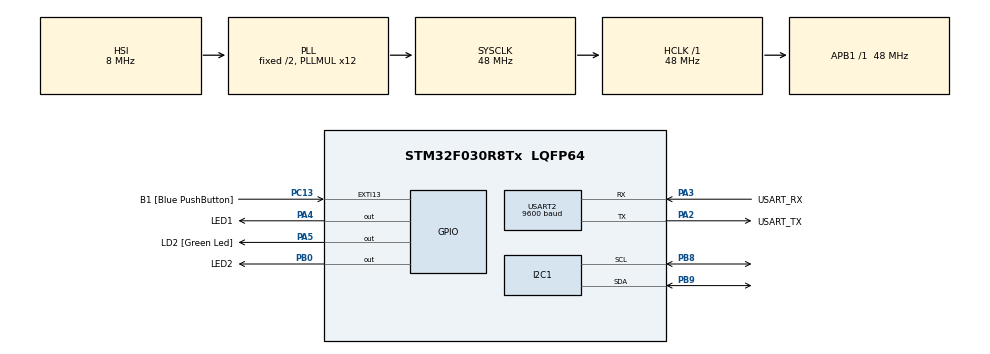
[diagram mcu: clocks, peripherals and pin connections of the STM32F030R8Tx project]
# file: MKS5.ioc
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Dma.Request0=USART2_RX
Dma.USART2_RX.0.Direction=DMA_PERIPH_TO_MEMORY
Dma.USART2_RX.0.Instance=DMA1_Channel5
Dma.USART2_RX.0.MemDataAlignment=DMA_MDATAALIGN_BYTE
Dma.USART2_RX.0.MemInc=DMA_MINC_ENABLE
Dma.USART2_RX.0.Mode=DMA_CIRCULAR
Dma.USART2_RX.0.PeriphDataAlignment=DMA_PDATAALIGN_BYTE
Dma.USART2_RX.0.PeriphInc=DMA_PINC_DISABLE
Dma.USART2_RX.0.Priority=DMA_PRIORITY_LOW
I2C1.Timing=0x00201D2B
Mcu.Family=STM32F0
Mcu.Name=STM32F030R8Tx
Mcu.Package=LQFP64
NVIC.DMA1_Channel4_5_IRQn=true\:0\:0\:false\:false\:true\:false\:true\:true
PA13.GPIO_Label=TMS
PA13.Mode=Serial_Wire
PA13.Signal=SYS_SWDIO
PA14.GPIO_Label=TCK
PA14.Mode=Serial_Wire
PA14.Signal=SYS_SWCLK
PA2.GPIO_Label=USART_TX
PA2.GPIO_Mode=GPIO_MODE_AF_PP
PA2.GPIO_PuPd=GPIO_NOPULL
PA2.GPIO_Speed=GPIO_SPEED_FREQ_LOW
PA2.Mode=Asynchronous
PA2.Signal=USART2_TX
PA3.GPIO_Label=USART_RX
PA3.GPIO_Mode=GPIO_MODE_AF_PP
PA3.GPIO_PuPd=GPIO_NOPULL
PA3.GPIO_Speed=GPIO_SPEED_FREQ_LOW
PA3.Mode=Asynchronous
PA3.Signal=USART2_RX
PA4.GPIO_Label=LED1
PA4.Signal=GPIO_Output
PA5.GPIO_Label=LD2 [Green Led]
PA5.GPIO_Mode=GPIO_MODE_OUTPUT_PP
PA5.GPIO_PuPd=GPIO_NOPULL
PA5.GPIO_Speed=GPIO_SPEED_FREQ_LOW
PA5.Signal=GPIO_Output
PB0.GPIO_Label=LED2
PB0.Signal=GPIO_Output
PB8.Mode=I2C
PB8.Signal=I2C1_SCL
PB9.Mode=I2C
PB9.Signal=I2C1_SDA
PC13.GPIO_Label=B1 [Blue PushButton]
PC13.GPIO_ModeDefaultEXTI=GPIO_MODE_IT_FALLING
PC13.Signal=GPXTI13
PC14-OSC32_IN.Mode=LSE-External-Oscillator
PC14-OSC32_IN.Signal=RCC_OSC32_IN
PC15-OSC32_OUT.Mode=LSE-External-Oscillator
PC15-OSC32_OUT.Signal=RCC_OSC32_OUT
PF0-OSC_IN.Mode=HSE-External-Clock-Source
PF0-OSC_IN.Signal=RCC_OSC_IN
PF1-OSC_OUT.Signal=RCC_OSC_OUT
ProjectManager.HeapSize=0x200
ProjectManager.StackSize=0x400
ProjectManager.TargetToolchain=STM32CubeIDE
RCC.AHBFreq_Value=48000000
RCC.APB1Freq_Value=48000000
RCC.APB1TimFreq_Value=48000000
RCC.HCLKFreq_Value=48000000
RCC.PLLMUL=RCC_PLL_MUL12
RCC.SYSCLKFreq_VALUE=48000000
RCC.SYSCLKSource=RCC_SYSCLKSOURCE_PLLCLK
USART2.BaudRate=9600
USART2.VirtualMode-Asynchronous=VM_ASYNC
board=NUCLEO-F030R8

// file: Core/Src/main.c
/* USER CODE BEGIN Header */
/**
  ******************************************************************************
  * @file           : main.c
  * @brief          : Main program body
  ******************************************************************************
  * @attention
  *
  * Copyright (c) 2025 STMicroelectronics.
  * All rights reserved.
  *
  * This software is licensed under terms that can be found in the LICENSE file
  * in the root directory of this software component.
  * If no LICENSE file comes with this software, it is provided AS-IS.
  *
  ******************************************************************************
  */
/* USER CODE END Header */
#include "main.h"

/* USER CODE BEGIN Includes */
#include <stdio.h>
#include <string.h>
#include <stdlib.h>
/* USER CODE END Includes */

/* USER CODE BEGIN PD */
//buffer
#define RX_BUFFER_LEN 64
#define uart_rx_write_ptr (RX_BUFFER_LEN - hdma_usart2_rx.Instance->CNDTR)
#define CMD_BUFFER_LEN 256
#define EEPROM_ADDR 0xA0
/* USER CODE END PD */

I2C_HandleTypeDef hi2c1;

UART_HandleTypeDef huart2;
DMA_HandleTypeDef hdma_usart2_rx;

/* USER CODE BEGIN PV */
//buffer
static uint8_t uart_rx_buf[RX_BUFFER_LEN];
static volatile uint16_t uart_rx_read_ptr = 0;
/* USER CODE END PV */

void SystemClock_Config(void);
static void MX_GPIO_Init(void);
static void MX_DMA_Init(void);
static void MX_USART2_UART_Init(void);
static void MX_I2C1_Init(void);

/* USER CODE BEGIN 0 */

int _write(int file, char const *buf, int n)
{
 /* stdout redirection to UART2 */
 HAL_UART_Transmit(&huart2, (uint8_t*)(buf), n, HAL_MAX_DELAY);
 return n;
}

static void uart_process_command(char *cmd){
	printf("received: '%s'\r\n", cmd);
	char *token;
	token = strtok(cmd, " ");
	if (strcasecmp(token, "HELLO") == 0) {
		printf("Communication OK!\r\n");
	}
	else if (strcasecmp(token, "LED1") == 0) {
		token = strtok(NULL, " ");
		if (strcasecmp(token, "ON") == 0) {
			HAL_GPIO_WritePin(LED1_GPIO_Port, LED1_Pin, 1);
		} else if (strcasecmp(token, "OFF") == 0) {
			HAL_GPIO_WritePin(LED1_GPIO_Port, LED1_Pin, 0);
		}
		printf("OK\r\n");
	}
	else if (strcasecmp(token, "LED2") == 0) {
		token = strtok(NULL, " ");
		if (strcasecmp(token, "ON") == 0) {
			HAL_GPIO_WritePin(LED2_GPIO_Port, LED2_Pin, 1);
		} else if (strcasecmp(token, "OFF") == 0) {
			HAL_GPIO_WritePin(LED2_GPIO_Port, LED2_Pin, 0);
		}
		printf("OK\r\n");
	}
	else if (strcasecmp(token, "STATUS") == 0) {
		if (HAL_GPIO_ReadPin(LED1_GPIO_Port, LED1_Pin)) {
			printf("LED 1 is ON\r\n");
		}else {
			printf("LED 1 is OFF\r\n");
		}
		if (HAL_GPIO_ReadPin(LED2_GPIO_Port, LED2_Pin)) {
			printf("LED 2 is ON\r\n");
		}else {
			printf("LED 2 is OFF\r\n");
		}
	}
	else if (strcasecmp(token, "READ") == 0) {
		token = strtok(NULL, " ");
		uint8_t addr = atoi(token);
		uint8_t value = 0;
		HAL_I2C_Mem_Read(&hi2c1, EEPROM_ADDR, addr, I2C_MEMADD_SIZE_16BIT, &value, 1, 1000);
		printf("Addr 0x%04X =  0x%02X\r\n", addr, value);
	}
	else if (strcasecmp(token, "WRITE") == 0) {
		token = strtok(NULL, " ");
		uint8_t addr = atoi(token);
		token = strtok(NULL, " ");
		uint8_t value = atoi(token);
		HAL_I2C_Mem_Write(&hi2c1, EEPROM_ADDR, addr, I2C_MEMADD_SIZE_16BIT, &value, 1, 1000);
		/* Check if the EEPROM is ready for a new operation */
		while (HAL_I2C_IsDeviceReady(&hi2c1, EEPROM_ADDR, 300, 1000) != HAL_OK) {}
		printf("OK\r\n");
	}
	else if (strcasecmp(token, "DUMP") == 0) {
		uint8_t value = 0;

		printf("\r\n");
		for(uint8_t i = 0; i<16; i++){
			HAL_I2C_Mem_Read(&hi2c1, EEPROM_ADDR, i, I2C_MEMADD_SIZE_16BIT, &value, 1, 1000);
			printf("%02X ", value);
			if(i == 7) {
				printf("\r\n");
			}
		}
		printf("\r\n");
	}
}

static void uart_byte_available(uint8_t c) {
	static uint16_t cnt;
	static char data[CMD_BUFFER_LEN];

	if (cnt < CMD_BUFFER_LEN && c >= 32 && c <= 126) data[cnt++] = c;	//characters are only from certain ASCII range

	if ((c == '\n' || c == '\r') && cnt > 0) {
		data[cnt] = '\0';
		uart_process_command(data);
		cnt = 0;
	}
}
/* USER CODE END 0 */

int main(void)
{

  /* MCU Configuration--------------------------------------------------------*/

  /* Reset of all peripherals, Initializes the Flash interface and the Systick. */
  HAL_Init();

  /* Configure the system clock */
  SystemClock_Config();

  /* Initialize all configured peripherals */
  MX_GPIO_Init();
  MX_DMA_Init();
  MX_USART2_UART_Init();
  MX_I2C1_Init();
  /* USER CODE BEGIN 2 */
  HAL_UART_Receive_DMA(&huart2, uart_rx_buf, RX_BUFFER_LEN);
  /* USER CODE END 2 */

  /* Infinite loop */
  /* USER CODE BEGIN WHILE */
  while (1)
  {
	  /*
	  uint8_t c;	//variable for character

	  HAL_UART_Receive(&huart2, &c, 1, HAL_MAX_DELAY);
	  HAL_UART_Transmit(&huart2, &c, 1, HAL_MAX_DELAY);
	  */
	  while(uart_rx_read_ptr != uart_rx_write_ptr){
		  uint8_t b = uart_rx_buf[uart_rx_read_ptr];

		  // increase read pointer
		  if(++uart_rx_read_ptr >= RX_BUFFER_LEN) uart_rx_read_ptr = 0;

		  // process every received byte with the RX state machine
		  uart_byte_available(b);

	  }
    /* USER CODE END WHILE */

  }
}

void SystemClock_Config(void)
{
  RCC_OscInitTypeDef RCC_OscInitStruct = {0};
  RCC_ClkInitTypeDef RCC_ClkInitStruct = {0};
  RCC_PeriphCLKInitTypeDef PeriphClkInit = {0};

  /** Initializes the RCC Oscillators according to the specified parameters
  * in the RCC_OscInitTypeDef structure.
  */
  RCC_OscInitStruct.OscillatorType = RCC_OSCILLATORTYPE_HSI;
  RCC_OscInitStruct.HSIState = RCC_HSI_ON;
  RCC_OscInitStruct.HSICalibrationValue = RCC_HSICALIBRATION_DEFAULT;
  RCC_OscInitStruct.PLL.PLLState = RCC_PLL_ON;
  RCC_OscInitStruct.PLL.PLLSource = RCC_PLLSOURCE_HSI;
  RCC_OscInitStruct.PLL.PLLMUL = RCC_PLL_MUL12;
  RCC_OscInitStruct.PLL.PREDIV = RCC_PREDIV_DIV1;
  if (HAL_RCC_OscConfig(&RCC_OscInitStruct) != HAL_OK)
  {
    Error_Handler();
  }

  /** Initializes the CPU, AHB and APB buses clocks
  */
  RCC_ClkInitStruct.ClockType = RCC_CLOCKTYPE_HCLK|RCC_CLOCKTYPE_SYSCLK
                              |RCC_CLOCKTYPE_PCLK1;
  RCC_ClkInitStruct.SYSCLKSource = RCC_SYSCLKSOURCE_PLLCLK;
  RCC_ClkInitStruct.AHBCLKDivider = RCC_SYSCLK_DIV1;
  RCC_ClkInitStruct.APB1CLKDivider = RCC_HCLK_DIV1;

  if (HAL_RCC_ClockConfig(&RCC_ClkInitStruct, FLASH_LATENCY_1) != HAL_OK)
  {
    Error_Handler();
  }
  PeriphClkInit.PeriphClockSelection = RCC_PERIPHCLK_I2C1;
  PeriphClkInit.I2c1ClockSelection = RCC_I2C1CLKSOURCE_HSI;
  if (HAL_RCCEx_PeriphCLKConfig(&PeriphClkInit) != HAL_OK)
  {
    Error_Handler();
  }
}

static void MX_I2C1_Init(void)
{

  hi2c1.Instance = I2C1;
  hi2c1.Init.Timing = 0x00201D2B;
  hi2c1.Init.OwnAddress1 = 0;
  hi2c1.Init.AddressingMode = I2C_ADDRESSINGMODE_7BIT;
  hi2c1.Init.DualAddressMode = I2C_DUALADDRESS_DISABLE;
  hi2c1.Init.OwnAddress2 = 0;
  hi2c1.Init.OwnAddress2Masks = I2C_OA2_NOMASK;
  hi2c1.Init.GeneralCallMode = I2C_GENERALCALL_DISABLE;
  hi2c1.Init.NoStretchMode = I2C_NOSTRETCH_DISABLE;
  if (HAL_I2C_Init(&hi2c1) != HAL_OK)
  {
    Error_Handler();
  }

  /** Configure Analogue filter
  */
  if (HAL_I2CEx_ConfigAnalogFilter(&hi2c1, I2C_ANALOGFILTER_ENABLE) != HAL_OK)
  {
    Error_Handler();
  }

  /** Configure Digital filter
  */
  if (HAL_I2CEx_ConfigDigitalFilter(&hi2c1, 0) != HAL_OK)
  {
    Error_Handler();
  }

}

static void MX_USART2_UART_Init(void)
{

  huart2.Instance = USART2;
  huart2.Init.BaudRate = 9600;
  huart2.Init.WordLength = UART_WORDLENGTH_8B;
  huart2.Init.StopBits = UART_STOPBITS_1;
  huart2.Init.Parity = UART_PARITY_NONE;
  huart2.Init.Mode = UART_MODE_TX_RX;
  huart2.Init.HwFlowCtl = UART_HWCONTROL_NONE;
  huart2.Init.OverSampling = UART_OVERSAMPLING_16;
  huart2.Init.OneBitSampling = UART_ONE_BIT_SAMPLE_DISABLE;
  huart2.AdvancedInit.AdvFeatureInit = UART_ADVFEATURE_NO_INIT;
  if (HAL_UART_Init(&huart2) != HAL_OK)
  {
    Error_Handler();
  }

}

static void MX_DMA_Init(void)
{

  /* DMA controller clock enable */
  __HAL_RCC_DMA1_CLK_ENABLE();

  /* DMA interrupt init */
  /* DMA1_Channel4_5_IRQn interrupt configuration */
  HAL_NVIC_SetPriority(DMA1_Channel4_5_IRQn, 0, 0);
  HAL_NVIC_EnableIRQ(DMA1_Channel4_5_IRQn);

}

static void MX_GPIO_Init(void)
{
  GPIO_InitTypeDef GPIO_InitStruct = {0};

  /* GPIO Ports Clock Enable */
  __HAL_RCC_GPIOC_CLK_ENABLE();
  __HAL_RCC_GPIOF_CLK_ENABLE();
  __HAL_RCC_GPIOA_CLK_ENABLE();
  __HAL_RCC_GPIOB_CLK_ENABLE();

  /*Configure GPIO pin Output Level */
  HAL_GPIO_WritePin(GPIOA, LED1_Pin|LD2_Pin, GPIO_PIN_RESET);

  /*Configure GPIO pin Output Level */
  HAL_GPIO_WritePin(LED2_GPIO_Port, LED2_Pin, GPIO_PIN_RESET);

  /*Configure GPIO pin : B1_Pin */
  GPIO_InitStruct.Pin = B1_Pin;
  GPIO_InitStruct.Mode = GPIO_MODE_IT_FALLING;
  GPIO_InitStruct.Pull = GPIO_NOPULL;
  HAL_GPIO_Init(B1_GPIO_Port, &GPIO_InitStruct);

  /*Configure GPIO pins : LED1_Pin LD2_Pin */
  GPIO_InitStruct.Pin = LED1_Pin|LD2_Pin;
  GPIO_InitStruct.Mode = GPIO_MODE_OUTPUT_PP;
  GPIO_InitStruct.Pull = GPIO_NOPULL;
  GPIO_InitStruct.Speed = GPIO_SPEED_FREQ_LOW;
  HAL_GPIO_Init(GPIOA, &GPIO_InitStruct);

  /*Configure GPIO pin : LED2_Pin */
  GPIO_InitStruct.Pin = LED2_Pin;
  GPIO_InitStruct.Mode = GPIO_MODE_OUTPUT_PP;
  GPIO_InitStruct.Pull = GPIO_NOPULL;
  GPIO_InitStruct.Speed = GPIO_SPEED_FREQ_LOW;
  HAL_GPIO_Init(LED2_GPIO_Port, &GPIO_InitStruct);

}

void Error_Handler(void)
{
  __disable_irq();
  while (1)
  {
  }
}
